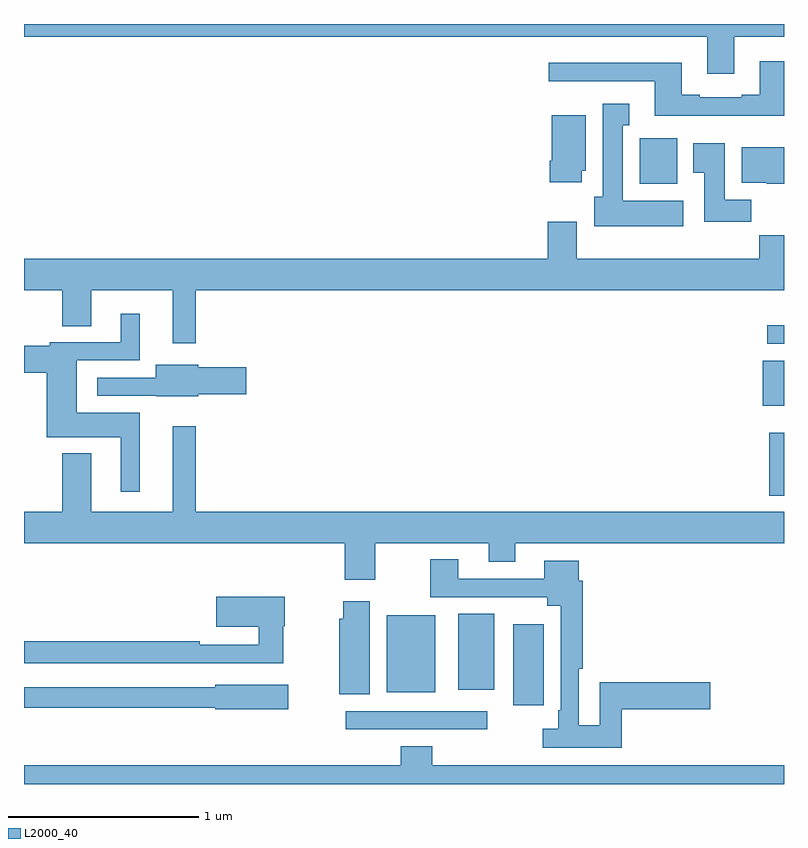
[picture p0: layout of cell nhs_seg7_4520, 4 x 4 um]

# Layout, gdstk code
import gdstk
lib = gdstk.Library(unit=1e-6, precision=1e-09)
def R(c, l, rs):  # rectangles x0, y0, x1, y1
    for r in rs: c.add(gdstk.rectangle(r[:2], r[2:], *l))
def P(c, l, *ps):  # polygons
    for p in ps: c.add(gdstk.Polygon(p, *l))
L2000_40 = (2000, 40)

nhs_seg7_4520 = lib.new_cell('nhs_seg7_4520')
R(nhs_seg7_4520, L2000_40, [(396.693,1014.288,397.438,1014.384), (397.574,1014.414,397.735,1014.841), (396.908,1014.482,397.165,1014.889), (397.286,1014.497,397.474,1014.895), (398.923,1015.517,399,1015.849), (398.888,1015.991,399,1016.227), (398.913,1016.316,399,1016.414), (398.24,1017.158,398.437,1017.4)])
P(nhs_seg7_4520, L2000_40, [(398.737,1017.932),(399,1017.932),(399,1018),(395,1018),(395,1017.932),(398.597,1017.932),(398.597,1017.738),(398.737,1017.738)],
  [(399,1017.805),(398.873,1017.805),(398.873,1017.628),(398.777,1017.628),(398.777,1017.615),(398.557,1017.615),(398.557,1017.628),(398.461,1017.628),(398.461,1017.796),(397.761,1017.796),(397.761,1017.699),(398.321,1017.699),(398.321,1017.518),(399,1017.518)],
  [(398.47,1017.07),(398.152,1017.07),(398.152,1017.467),(398.185,1017.467),(398.185,1017.58),(398.045,1017.58),(398.045,1017.09),(398,1017.09),(398,1016.936),(398.47,1016.936)],
  [(397.936,1017.228),(397.957,1017.228),(397.957,1017.52),(397.778,1017.52),(397.778,1017.28),(397.766,1017.28),(397.766,1017.168),(397.936,1017.168)],
  [(398.828,1017.076),(398.689,1017.076),(398.689,1017.373),(398.522,1017.373),(398.522,1017.217),(398.579,1017.217),(398.579,1016.958),(398.828,1016.958)],
  [(399,1017.352),(398.777,1017.352),(398.777,1017.164),(398.91,1017.164),(398.91,1017.158),(399,1017.158)],
  [(395.905,1016.6),(399,1016.6),(399,1016.888),(398.869,1016.888),(398.869,1016.764),(397.909,1016.764),(397.909,1016.959),(397.757,1016.959),(397.757,1016.764),(395,1016.764),(395,1016.6),(395.201,1016.6),(395.201,1016.41),(395.353,1016.41),(395.353,1016.6),(395.783,1016.6),(395.783,1016.319),(395.905,1016.319)],
  [(395.608,1015.954),(395.278,1015.954),(395.278,1016.229),(395.608,1016.229),(395.608,1016.476),(395.51,1016.476),(395.51,1016.325),(395.136,1016.325),(395.136,1016.307),(395,1016.307),(395,1016.165),(395.12,1016.165),(395.12,1015.826),(395.51,1015.826),(395.51,1015.539),(395.608,1015.539)],
  [(395.916,1016.051),(396.169,1016.051),(396.169,1016.193),(395.916,1016.193),(395.916,1016.206),(395.693,1016.206),(395.693,1016.139),(395.385,1016.139),(395.385,1016.043),(395.697,1016.043),(395.697,1016.042),(395.916,1016.042)],
  [(396.849,1015.268),(397.445,1015.268),(397.445,1015.169),(397.585,1015.169),(397.585,1015.268),(399,1015.268),(399,1015.432),(395.905,1015.432),(395.905,1015.882),(395.783,1015.882),(395.783,1015.432),(395.353,1015.432),(395.353,1015.741),(395.201,1015.741),(395.201,1015.432),(395,1015.432),(395,1015.268),(396.689,1015.268),(396.689,1015.074),(396.849,1015.074)],
  [(398.147,1014.394),(398.611,1014.394),(398.611,1014.536),(398.031,1014.536),(398.031,1014.308),(397.92,1014.308),(397.92,1014.607),(397.94,1014.607),(397.94,1015.07),(397.921,1015.07),(397.921,1015.174),(397.739,1015.174),(397.739,1015.08),(397.285,1015.08),(397.285,1015.183),(397.138,1015.183),(397.138,1014.984),(397.754,1014.984),(397.754,1014.938),(397.824,1014.938),(397.824,1014.388),(397.812,1014.388),(397.812,1014.292),(397.731,1014.292),(397.731,1014.192),(398.147,1014.192)],
  [(396.364,1014.831),(396.372,1014.831),(396.372,1014.985),(396.012,1014.985),(396.012,1014.827),(396.235,1014.827),(396.235,1014.732),(395.924,1014.732),(395.924,1014.752),(395,1014.752),(395,1014.636),(396.364,1014.636)],
  [(396.82,1014.961),(396.679,1014.961),(396.679,1014.87),(396.658,1014.87),(396.658,1014.473),(396.82,1014.473)],
  [(396.391,1014.523),(396.006,1014.523),(396.006,1014.51),(395,1014.51),(395,1014.402),(396.006,1014.402),(396.006,1014.394),(396.391,1014.394)],
  [(399,1014.1),(397.148,1014.1),(397.148,1014.199),(396.983,1014.199),(396.983,1014.1),(395,1014.1),(395,1014),(399,1014)])

lib.write_gds('nhs_seg7_4520.gds')
